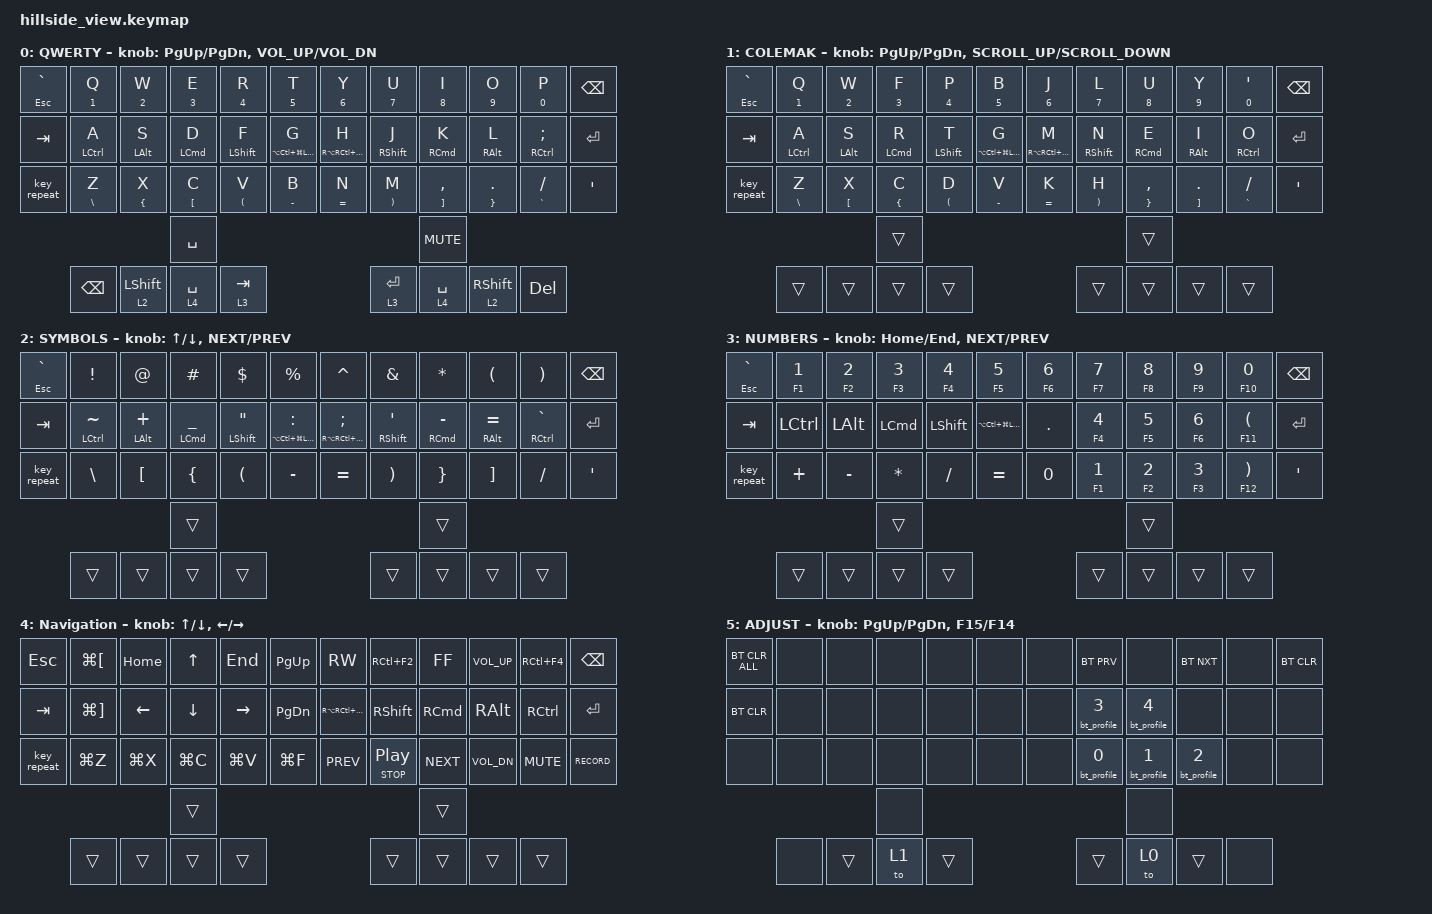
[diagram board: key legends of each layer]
// This file was generated from a template. Edit it to match your keyboard.
// See https://zmk.dev/docs/development/hardware-integration/new-shield for more instructions.

#include <behaviors.dtsi>
#include <dt-bindings/zmk/bt.h>
#include <dt-bindings/zmk/keys.h>

&sk {
    release-after-ms = <600>;
    quick-release;
};

/ {
    behaviors {
        ht: hold_tap {
            compatible = "zmk,behavior-hold-tap";
            #binding-cells = <2>;
            tapping-term-ms = <300>;
            quick-tap-ms = <300>;
            flavor = "tap-preferred";
            bindings = <&kp>, <&kp>;
        };

        hml: homewrow_mods_left {
            compatible = "zmk,behavior-hold-tap";
            bindings = <&kp>, <&kp>;

            #binding-cells = <2>;
            flavor = "balanced";
            tapping-term-ms = <300>;
            hold-trigger-key-positions = <13 14 15 42 43 44 45 30 7 8 9 10 11 19 20 21 22 23 31 32 33 34 35 6 18 16 41 40 39 38>;
        };

        hmr: homewrow_mods_right {
            compatible = "zmk,behavior-hold-tap";
            bindings = <&kp>, <&kp>;

            #binding-cells = <2>;
            tapping-term-ms = <300>;
            flavor = "balanced";
            hold-trigger-key-positions = <0 1 2 3 4 5 12 13 14 15 16 17 24 25 26 27 28 29 38 19 20 21 22 39 40 41 42 43 45 44>;
        };

        lt_qk: layer_toggle_quick {
            compatible = "zmk,behavior-hold-tap";
            bindings = <&mo>, <&kp>;

            #binding-cells = <2>;
            flavor = "tap-preferred";
            tapping-term-ms = <300>;
            quick-tap-ms = <150>;
        };

        sk_layer: sk_layer {
            compatible = "zmk,behavior-hold-tap";
            bindings = <&mo>, <&sk>;

            #binding-cells = <2>;
            tapping-term-ms = <200>;
            hold-while-undecided;
        };

        bt_profile_ht: bt_profile_ht {
            compatible = "zmk,behavior-hold-tap";
            bindings = <&bt_disc>, <&bt_sel>;

            #binding-cells = <2>;
            tapping-term-ms = <2000>;
            flavor = "hold-preferred";
        };
    };

    combos {
        compatible = "zmk,combos";

        caps {
            timeout-ms = <50>;
            bindings = <&caps_word>;
            key-positions = <39 44>;
        };

        cb_soft_off_right {
            bindings = <&soft_off>;
            key-positions = <6 11>;
            layers = <5>;
            timeout-ms = <100>;
        };

        cb_soft_off_left {
            bindings = <&soft_off>;
            key-positions = <0 5>;
            layers = <5>;
            timeout-ms = <100>;
        };

        cb_reset_right {
            bindings = <&sys_reset>;
            key-positions = <18 23>;
            layers = <5>;
            timeout-ms = <100>;
        };

        cb_reset_left {
            bindings = <&sys_reset>;
            key-positions = <12 17>;
            layers = <5>;
            timeout-ms = <100>;
        };

        cb_bootloader_right {
            bindings = <&bootloader>;
            key-positions = <30 35>;
            layers = <5>;
            timeout-ms = <100>;
        };

        cb_bootloader_left {
            bindings = <&bootloader>;
            key-positions = <24 29>;
            layers = <5>;
            timeout-ms = <100>;
        };

        ZMK_Studio {
            bindings = <&studio_unlock>;
            key-positions = <0 29>;
            layers = <5>;
        };
    };

    macros {
        bt_sel: bt_sel {
            compatible = "zmk,behavior-macro-one-param";
            #binding-cells = <1>;
            bindings = <&macro_param_1to2 &bt BT_SEL MACRO_PLACEHOLDER>;
        };

        bt_disc: bt_disc {
            compatible = "zmk,behavior-macro-one-param";
            #binding-cells = <1>;
            bindings = <&macro_param_1to2 &bt BT_DISC MACRO_PLACEHOLDER>;
        };

        bt_profile: bt_profile {
            compatible = "zmk,behavior-macro-one-param";
            #binding-cells = <1>;
            bindings =
                <&macro_press>,
                <&macro_param_1to1 &macro_param_1to2 &bt_profile_ht MACRO_PLACEHOLDER MACRO_PLACEHOLDER>,
                <&macro_pause_for_release>,
                <&macro_release>,
                <&macro_param_1to1 &macro_param_1to2 &bt_profile_ht MACRO_PLACEHOLDER MACRO_PLACEHOLDER>;
        };
    };

    keymap {
        compatible = "zmk,keymap";

        default_layer {
            display-name = "QWERTY";
            bindings = <
&ht ESCAPE GRAVE  &ht N1 Q         &ht N2 W           &ht N3 E            &ht N4 R                &ht N5 T                      &ht N6 Y                  &ht N7 U                 &ht N8 I                 &ht N9 O             &ht N0 P         &kp BACKSPACE
&kp TAB           &hml LCTRL A     &hml LALT S        &hml LCMD D         &hml LSHFT F            &hml LA(LC(LG(LSHFT))) G      &hmr RA(RC(RG(RSHFT))) H  &hmr RSHFT J             &hmr RCMD K              &hmr RALT L          &hmr RCTRL SEMI  &kp ENTER
&key_repeat       &ht BACKSLASH Z  &ht LEFT_BRACE X   &ht LEFT_BRACKET C  &ht LEFT_PARENTHESIS V  &ht MINUS B                   &ht EQUAL N               &ht RIGHT_PARENTHESIS M  &ht RIGHT_BRACKET COMMA  &ht RIGHT_BRACE DOT  &ht GRAVE FSLH   &kp SQT
                                                      &kp SPACE                                                                                                                    &kp C_MUTE
                  &kp BACKSPACE    &sk_layer 2 LSHFT  &lt_qk 4 SPACE      &lt_qk 3 TAB                                                                    &lt_qk 3 ENTER           &lt_qk 4 SPACE           &sk_layer 2 RSHFT    &kp DEL
            >;

            sensor-bindings =
                <&inc_dec_kp PG_UP PG_DN>,
                <&inc_dec_kp C_VOL_UP C_VOL_DN>;
        };

        colemak_dhrs_layer {
            bindings = <
&ht ESC GRAVE  &ht N1 Q         &ht N2 W            &ht N3 F          &ht N4 P                &ht N5 B                      &ht N6 J                  &ht N7 L                 &ht N8 U               &ht N9 Y               &ht N0 SQT      &kp BSPC
&kp TAB        &hml LCTRL A     &hml LALT S         &hml LCMD R       &hml LSHFT T            &hml LA(LC(LG(LSHFT))) G      &hmr RA(RC(RG(RSHFT))) M  &hmr RSHFT N             &hmr RCMD E            &hmr RALT I            &hmr RCTRL O    &kp ENTER
&key_repeat    &ht BACKSLASH Z  &ht LEFT_BRACKET X  &ht LEFT_BRACE C  &ht LEFT_PARENTHESIS D  &ht MINUS V                   &ht EQUAL K               &ht RIGHT_PARENTHESIS H  &ht RIGHT_BRACE COMMA  &ht RIGHT_BRACKET DOT  &ht GRAVE FSLH  &kp APOS
                                                    &trans                                                                                                                     &trans
               &trans           &trans              &trans            &trans                                                                          &trans                   &trans                 &trans                 &trans
            >;

            display-name = "COLEMAK";
            sensor-bindings =
                <&inc_dec_kp PAGE_UP PAGE_DOWN>,
                <&inc_dec_kp K_SCROLL_UP K_SCROLL_DOWN>;
        };

        sym_layer {
            bindings = <
&ht ESC GRAVE  &kp EXCL          &kp AT            &kp HASH              &kp DLLR                  &kp PRCNT                         &kp CARET                         &kp AMPS               &kp ASTERISK     &kp LPAR           &kp RPAR          &kp BSPC
&kp TAB        &hml LCTRL TILDE  &hml LALT PLUS    &hml LCMD UNDERSCORE  &hml LSHFT DOUBLE_QUOTES  &hml LA(LC(LG(LSHFT))) COLON      &hmr RA(RC(RG(RSHFT))) SEMICOLON  &hmr RSHFT SQT         &hmr RCMD MINUS  &hmr RALT EQUAL    &hmr RCTRL GRAVE  &kp ENTER
&key_repeat    &kp BACKSLASH     &kp LEFT_BRACKET  &kp LEFT_BRACE        &kp LEFT_PARENTHESIS      &kp MINUS                         &kp EQUAL                         &kp RIGHT_PARENTHESIS  &kp RIGHT_BRACE  &kp RIGHT_BRACKET  &kp FSLH          &kp APOS
                                                   &trans                                                                                                                                     &trans
               &trans            &trans            &trans                &trans                                                                                        &trans                 &trans           &trans             &trans
            >;

            display-name = "SYMBOLS";
            sensor-bindings =
                <&inc_dec_kp UP DOWN>,
                <&inc_dec_kp C_NEXT C_PREV>;
        };

        num_layer {
            bindings = <
&ht ESC GRAVE  &ht F1 N1  &ht F2 N2  &ht F3 N3     &ht F4 N4  &ht F5 N5                  &ht F6 N6   &ht F7 N7        &ht F8 N8  &ht F9 N9        &ht F10 N0                 &kp BSPC
&kp TAB        &kp LCTRL  &kp LALT   &kp LCMD      &kp LSHFT  &kp LA(LC(LG(LSHFT)))      &kp PERIOD  &ht F4 NUMBER_4  &ht F5 N5  &ht F6 NUMBER_6  &ht F11 LEFT_PARENTHESIS   &kp ENTER
&key_repeat    &kp PLUS   &kp MINUS  &kp ASTERISK  &kp SLASH  &kp EQUAL                  &kp N0      &ht F1 N1        &ht F2 N2  &ht F3 N3        &ht F12 RIGHT_PARENTHESIS  &kp APOS
                                     &trans                                                                           &trans
               &trans     &trans     &trans        &trans                                            &trans           &trans     &trans           &trans
            >;

            display-name = "NUMBERS";
            sensor-bindings =
                <&inc_dec_kp HOME END>,
                <&inc_dec_kp C_NEXT C_PREV>;
        };

        nav_layer {
            bindings = <
&kp ESC      &kp LG(LEFT_BRACKET)   &kp HOME   &kp UP     &kp END    &kp PG_UP      &kp C_RW               &kp RC(F2)       &kp C_FF    &kp C_VOLUME_UP  &kp RC(F4)  &kp BSPC
&kp TAB      &kp LG(RIGHT_BRACKET)  &kp LEFT   &kp DOWN   &kp RIGHT  &kp PG_DN      &kp RA(RC(RG(RSHFT)))  &kp RSHFT        &kp RCMD    &kp RALT         &kp RCTRL   &kp ENTER
&key_repeat  &kp LG(Z)              &kp LG(X)  &kp LG(C)  &kp LG(V)  &kp LG(F)      &kp C_PREV             &ht C_STOP C_PP  &kp C_NEXT  &kp C_VOL_DN     &kp C_MUTE  &kp C_RECORD
                                               &trans                                                                       &trans
             &trans                 &trans     &trans     &trans                                           &trans           &trans      &trans           &trans
            >;

            display-name = "Navigation";
            sensor-bindings = <&inc_dec_kp UP DOWN>, <&inc_dec_kp LEFT RIGHT>;
        };

        Adjustment {
            bindings = <
&bt BT_CLR_ALL  &none  &none   &none  &none   &none      &none  &bt BT_PRV     &none          &bt BT_NXT     &none  &bt BT_CLR
&bt BT_CLR      &none  &none   &none  &none   &none      &none  &bt_profile 3  &bt_profile 4  &none          &none  &none
&none           &none  &none   &none  &none   &none      &none  &bt_profile 0  &bt_profile 1  &bt_profile 2  &none  &none
                               &none                                           &none
                &none  &trans  &to 1  &trans                    &trans         &to 0          &trans         &none
            >;

            display-name = "ADJUST";
            sensor-bindings = <&inc_dec_kp PG_UP PG_DN>, <&inc_dec_kp F15 F14>;
        };
    };

    conditional_layers {
        compatible = "zmk,conditional-layers";

        tri_layer {
            if-layers = <2 3>;
            then-layer = <5>;
        };
    };
};
